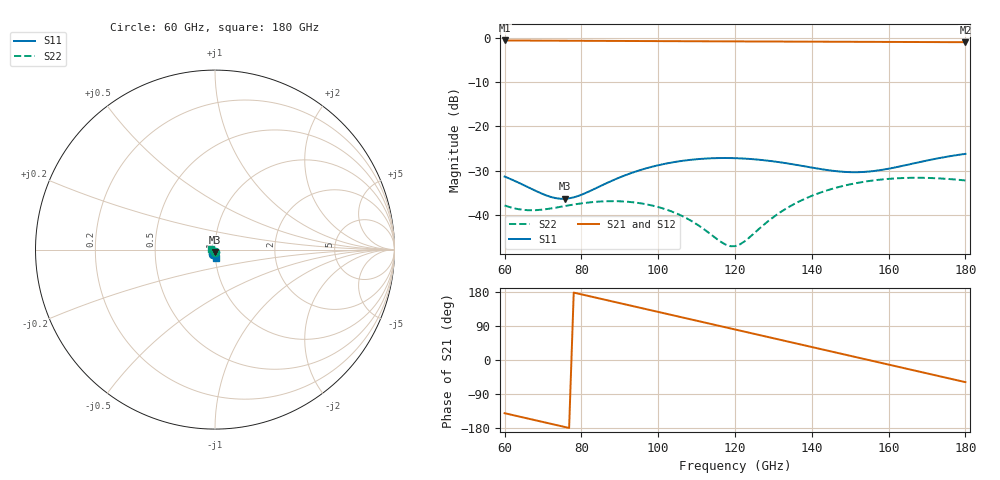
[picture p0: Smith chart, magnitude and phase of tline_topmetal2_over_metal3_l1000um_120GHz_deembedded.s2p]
! Created with skrf 2.0.1 (http://scikit-rf.org).
# GHz S DB R 50.0
!freq dBS11 angS11 dBS21 angS21 dBS12 angS12 dBS22 angS22
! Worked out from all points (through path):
!   101 points, 60 GHz to 180 GHz, reference 50 ohm
!   highest |S21| = -0.64 dB at 60 GHz (marker M1); lowest = -1.0 dB at 180 GHz (marker M2)
!   group delay of S21, straight-line fit = 6.44 ps
!   lowest |S11| = -36.4 dB at 75.6 GHz (marker M3), VSWR 1.03, Z = 49.9 - j1.51 ohm
!   |S11| at or under -10 dB: start of sweep to end of sweep
!   |S22| runs from -47.1 to -31.6 dB; largest |S21 - S12| = 1.6e-14
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60  -31.35 -119.3  -0.64 -140.4  -0.64 -140.4  -37.87 -102.5
67.2  -34.21 -117.6  -0.67 -157.1  -0.67 -157.1  -38.95 -93.1
72  -35.94 -106.7  -0.69 -168.2  -0.69 -168.2  -38.55 -89.3
75.6  -36.37 -93.6  -0.70 -176.6  -0.70 -176.6  -38.01 -89.9
80.4  -35.32 -77.6  -0.72 172.3  -0.72 172.3  -37.36 -94.5
85.2  -33.39 -69.6  -0.74 161.2  -0.74 161.2  -36.97 -102.6
90  -31.54 -68.3  -0.76 150.1  -0.76 150.1  -36.93 -113.0
100.8  -28.64 -76.1  -0.79 125.0  -0.79 125.0  -38.43 -143.4
105.6  -27.89 -81.4  -0.81 113.9  -0.81 113.9  -39.99 -160.8
110.4  -27.41 -87.1  -0.82 102.8  -0.82 102.8  -42.31 177.0
116.4  -27.17 -94.0  -0.84 88.9  -0.84 88.9  -46.13 131.9
120  -27.20 -97.9  -0.86 80.6  -0.86 80.6  -47.05 88.9
122.4  -27.29 -100.3  -0.86 75.0  -0.86 75.0  -46.03 60.2
129.6  -27.88 -105.9  -0.88 58.3  -0.88 58.3  -40.76 5.5
134.4  -28.49 -107.8  -0.90 47.2  -0.90 47.2  -38.03 -17.2
140.4  -29.38 -107.2  -0.92 33.3  -0.92 33.3  -35.56 -41.1
146.4  -30.14 -102.6  -0.93 19.4  -0.93 19.4  -33.85 -62.9
151.2  -30.37 -96.5  -0.95 8.3  -0.95 8.3  -32.89 -80.0
156  -30.11 -90.0  -0.96 -2.8  -0.96 -2.8  -32.23 -97.0
160.8  -29.44 -84.9  -0.98 -14.0  -0.98 -14.0  -31.82 -114.2
170.4  -27.66 -81.5  -1.01 -36.2  -1.01 -36.2  -31.66 -150.1
180  -26.23 -84.8  -1.03 -58.4  -1.03 -58.4  -32.23 170.2
